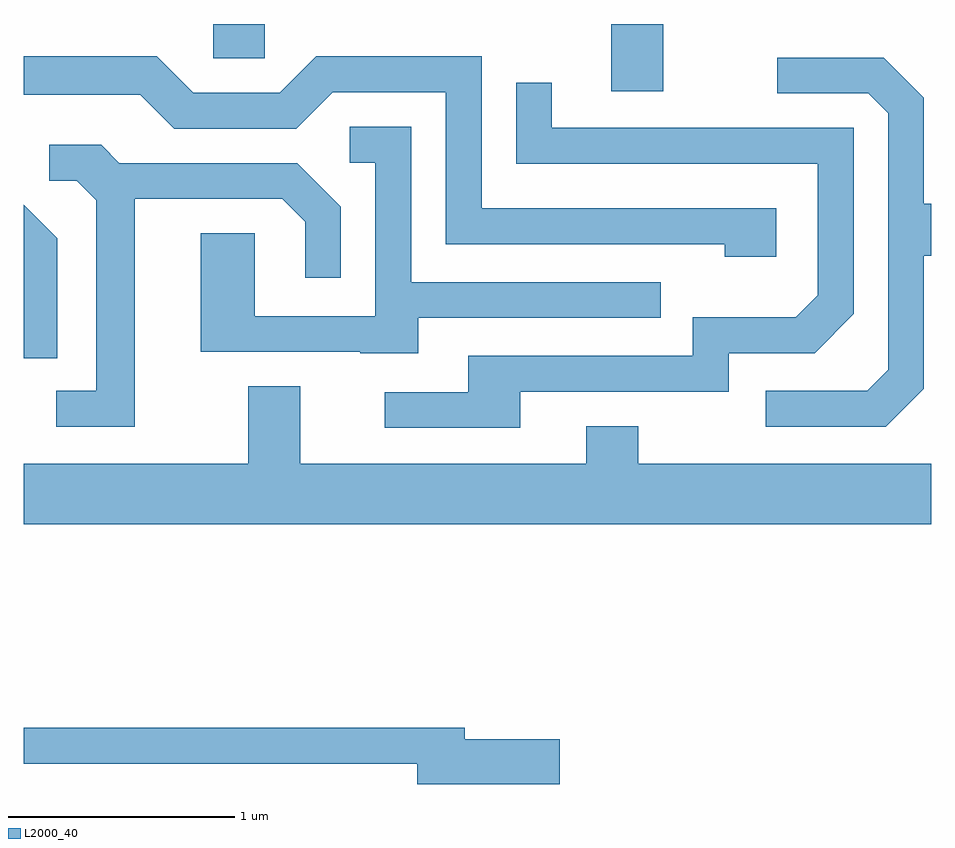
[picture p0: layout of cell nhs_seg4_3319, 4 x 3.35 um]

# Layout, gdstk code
import gdstk
lib = gdstk.Library(unit=1e-6, precision=1e-09)
def R(c, l, rs):  # rectangles x0, y0, x1, y1
    for r in rs: c.add(gdstk.rectangle(r[:2], r[2:], *l))
def P(c, l, *ps):  # polygons
    for p in ps: c.add(gdstk.Polygon(p, *l))
L2000_40 = (2000, 40)

nhs_seg4_3319 = lib.new_cell('nhs_seg4_3319')
R(nhs_seg4_3319, L2000_40, [(284.201,1367.686,284.429,1367.982), (282.446,1367.831,282.674,1367.982)])
P(nhs_seg4_3319, L2000_40, [(284.929,1367.169),(283.629,1367.169),(283.629,1367.839),(282.899,1367.839),(282.739,1367.679),(282.357,1367.679),(282.197,1367.839),(281.611,1367.839),(281.611,1367.671),(282.124,1367.671),(282.274,1367.521),(282.812,1367.521),(282.972,1367.681),(283.471,1367.681),(283.471,1367.011),(284.701,1367.011),(284.701,1366.956),(284.929,1366.956)],
  [(285.579,1366.374),(285.579,1366.961),(285.611,1366.961),(285.611,1367.189),(285.579,1367.189),(285.579,1367.657),(285.402,1367.834),(284.933,1367.834),(284.933,1367.676),(285.334,1367.676),(285.421,1367.589),(285.421,1366.457),(285.329,1366.364),(284.883,1366.364),(284.883,1366.206),(285.412,1366.206)],
  [(283.799,1366.361),(284.719,1366.361),(284.719,1366.531),(285.097,1366.531),(285.269,1366.704),(285.269,1367.524),(283.939,1367.524),(283.939,1367.723),(283.781,1367.723),(283.781,1367.366),(285.111,1367.366),(285.111,1366.787),(285.014,1366.689),(284.561,1366.689),(284.561,1366.519),(283.571,1366.519),(283.571,1366.359),(283.203,1366.359),(283.203,1366.201),(283.799,1366.201)],
  [(283.349,1366.686),(284.418,1366.686),(284.418,1366.844),(283.319,1366.844),(283.319,1367.529),(283.048,1367.529),(283.048,1367.371),(283.161,1367.371),(283.161,1366.694),(282.629,1366.694),(282.629,1367.059),(282.391,1367.059),(282.391,1366.536),(283.095,1366.536),(283.095,1366.531),(283.349,1366.531)],
  [(282.099,1367.211),(282.749,1367.211),(282.851,1367.109),(282.851,1366.863),(283.009,1366.863),(283.009,1367.177),(282.817,1367.369),(282.032,1367.369),(281.952,1367.449),(281.723,1367.449),(281.723,1367.291),(281.844,1367.291),(281.931,1367.204),(281.931,1366.364),(281.753,1366.364),(281.753,1366.206),(282.099,1366.206)],
  [(281.759,1367.037),(281.611,1367.185),(281.611,1366.508),(281.759,1366.508)],
  [(285.611,1366.044),(284.319,1366.044),(284.319,1366.209),(284.091,1366.209),(284.091,1366.044),(282.829,1366.044),(282.829,1366.384),(282.601,1366.384),(282.601,1366.044),(281.611,1366.044),(281.611,1365.776),(285.611,1365.776)],
  [(283.974,1364.829),(283.554,1364.829),(283.554,1364.879),(281.611,1364.879),(281.611,1364.721),(283.346,1364.721),(283.346,1364.631),(283.974,1364.631)])

lib.write_gds('nhs_seg4_3319.gds')
